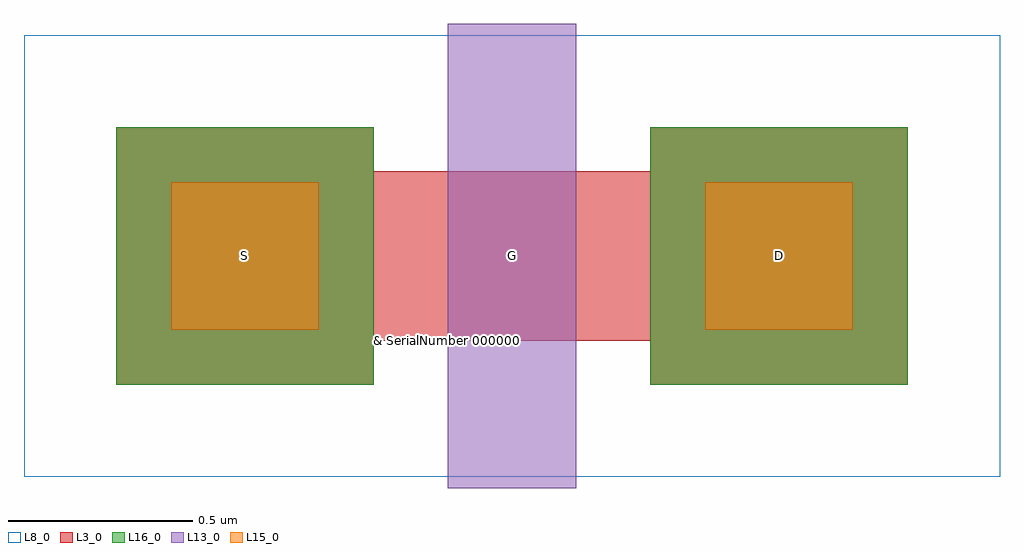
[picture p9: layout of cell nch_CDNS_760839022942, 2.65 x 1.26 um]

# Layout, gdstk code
import gdstk
lib = gdstk.Library(unit=1e-6, precision=1e-09)
def R(c, l, rs):  # rectangles x0, y0, x1, y1
    for r in rs: c.add(gdstk.rectangle(r[:2], r[2:], *l))
L3_0 = (3, 0)
L8_0 = (8, 0)
L13_0 = (13, 0)
L15_0 = (15, 0)
L16_0 = (16, 0)

nch_cdns_760839022942 = lib.new_cell('nch_CDNS_760839022942')
R(nch_cdns_760839022942, L3_0, [(-0.9,-0.12,-0.2,0.58), (0.55,-0.12,1.25,0.58), (-0.9,0,-0.2,0.46), (-0.2,0,0.55,0.46), (0.55,0,1.25,0.46)])
R(nch_cdns_760839022942, L8_0, [(-1.15,-0.37,1.5,0.83)])
R(nch_cdns_760839022942, L13_0, [(0,-0.4,0.35,0.86)])
R(nch_cdns_760839022942, L15_0, [(-0.75,0.03,-0.35,0.43), (0.7,0.03,1.1,0.43)])
R(nch_cdns_760839022942, L16_0, [(-0.9,-0.12,-0.2,0.58), (0.55,-0.12,1.25,0.58)])
nch_cdns_760839022942.add(gdstk.Label('D', (0.9,0.23), layer=59, texttype=0))
nch_cdns_760839022942.add(gdstk.Label('S', (-0.55,0.23), layer=59, texttype=0))
nch_cdns_760839022942.add(gdstk.Label('G', (0.175,0.23), layer=59, texttype=0))
nch_cdns_760839022942.add(gdstk.Label('& SerialNumber 000000', (0,0), layer=16, texttype=0))
nch_cdns_760839022942.add(gdstk.Label('& Distributor VIS', (0,0), layer=16, texttype=0))
nch_cdns_760839022942.add(gdstk.Label('& Metric 1', (0,0), layer=16, texttype=0))
nch_cdns_760839022942.add(gdstk.Label('& Version    \t  1.7A', (0,0), layer=16, texttype=0))
nch_cdns_760839022942.add(gdstk.Label('& PDKName     vis35cv', (0,0), layer=16, texttype=0))
nch_cdns_760839022942.add(gdstk.Label('& Vendor VIS Corp.', (0,0), layer=16, texttype=0))
nch_cdns_760839022942.add(gdstk.Label('& SerialNumber 000000', (0,0), layer=63, texttype=63))
nch_cdns_760839022942.add(gdstk.Label('& Distributor VIS', (0,0), layer=63, texttype=63))
nch_cdns_760839022942.add(gdstk.Label('& Metric 1', (0,0), layer=63, texttype=63))
nch_cdns_760839022942.add(gdstk.Label('& Version    \t  1.7A', (0,0), layer=63, texttype=63))
nch_cdns_760839022942.add(gdstk.Label('& PDKName     vis35cv', (0,0), layer=63, texttype=63))
nch_cdns_760839022942.add(gdstk.Label('& Vendor VIS Corp.', (0,0), layer=63, texttype=63))

lib.write_gds('nch_CDNS_760839022942.gds')
